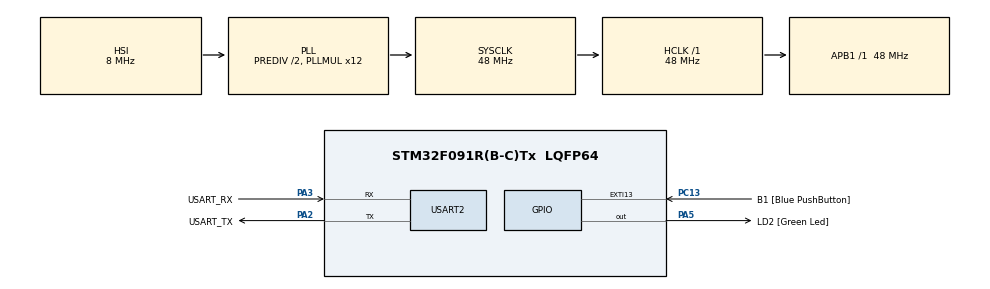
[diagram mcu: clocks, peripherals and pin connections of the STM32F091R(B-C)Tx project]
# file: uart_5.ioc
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FREERTOS.Tasks01=defaultTask,0,128,StartDefaultTask,Default,NULL,Dynamic,NULL,NULL;myTask04,-3,128,StartTask04,Default,NULL,Dynamic,NULL,NULL
FREERTOS.configUSE_NEWLIB_REENTRANT=1
Mcu.Family=STM32F0
Mcu.Name=STM32F091R(B-C)Tx
Mcu.Package=LQFP64
NVIC.EXTI4_15_IRQn=true\:3\:0\:false\:false\:true\:true\:true\:true\:true
NVIC.PVD_VDDIO2_IRQn=true\:3\:0\:false\:false\:true\:true\:true\:true\:true
NVIC.TIM1_BRK_UP_TRG_COM_IRQn=true\:3\:0\:false\:false\:true\:false\:false\:true\:true
NVIC.TimeBase=TIM1_BRK_UP_TRG_COM_IRQn
NVIC.TimeBaseIP=TIM1
PA13.GPIO_Label=TMS
PA13.Mode=Serial_Wire
PA13.Signal=SYS_SWDIO
PA14.GPIO_Label=TCK
PA14.Mode=Serial_Wire
PA14.Signal=SYS_SWCLK
PA2.GPIO_Label=USART_TX
PA2.GPIO_Mode=GPIO_MODE_AF_PP
PA2.GPIO_PuPd=GPIO_NOPULL
PA2.GPIO_Speed=GPIO_SPEED_FREQ_LOW
PA2.Mode=Asynchronous
PA2.Signal=USART2_TX
PA3.GPIO_Label=USART_RX
PA3.GPIO_Mode=GPIO_MODE_AF_PP
PA3.GPIO_PuPd=GPIO_NOPULL
PA3.GPIO_Speed=GPIO_SPEED_FREQ_LOW
PA3.Mode=Asynchronous
PA3.Signal=USART2_RX
PA5.GPIO_Label=LD2 [Green Led]
PA5.GPIO_Mode=GPIO_MODE_OUTPUT_PP
PA5.GPIO_PuPd=GPIO_NOPULL
PA5.GPIO_Speed=GPIO_SPEED_FREQ_LOW
PA5.Signal=GPIO_Output
PC13.GPIO_Label=B1 [Blue PushButton]
PC13.GPIO_ModeDefaultEXTI=GPIO_MODE_IT_FALLING
PC13.GPIO_PuPd=GPIO_NOPULL
PC13.Signal=GPXTI13
PC14OSC32_IN.Mode=LSE-External-Oscillator
PC14OSC32_IN.Signal=RCC_OSC32_IN
PC15OSC32_OUT.Mode=LSE-External-Oscillator
PC15OSC32_OUT.Signal=RCC_OSC32_OUT
PF0-OSC_IN.Mode=HSE-External-Clock-Source
PF0-OSC_IN.Signal=RCC_OSC_IN
PF1-OSC_OUT.Signal=RCC_OSC_OUT
ProjectManager.HeapSize=0x200
ProjectManager.StackSize=0x400
ProjectManager.TargetToolchain=STM32CubeIDE
RCC.AHBFreq_Value=48000000
RCC.APB1Freq_Value=48000000
RCC.APB1TimFreq_Value=48000000
RCC.FLatency-AdvancedSettings=FLASH_LATENCY_1
RCC.HCLKFreq_Value=48000000
RCC.PLLDivider=RCC_PREDIV_DIV2
RCC.PLLMUL=RCC_PLL_MUL12
RCC.PREFETCH_ENABLE-AdvancedSettings=1
RCC.SYSCLKFreq_VALUE=48000000
RCC.SYSCLKSource=RCC_SYSCLKSOURCE_PLLCLK
USART2.VirtualMode=VM_ASYNC
USART2.VirtualMode-Asynchronous=VM_ASYNC
VP_FREERTOS_VS_CMSIS_V1.Mode=CMSIS_V1
VP_SYS_VS_tim1.Mode=TIM1
board=NUCLEO-F091RC

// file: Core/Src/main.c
/* USER CODE BEGIN Header */
/**
  ******************************************************************************
  * @file           : main.c
  * @brief          : Main program body
  ******************************************************************************
  * @attention
  *
  * Copyright (c) 2025 STMicroelectronics.
  * All rights reserved.
  *
  * This software is licensed under terms that can be found in the LICENSE file
  * in the root directory of this software component.
  * If no LICENSE file comes with this software, it is provided AS-IS.
  *
  ******************************************************************************
  */
/* USER CODE END Header */
#include <proj_util.h>
#include "main.h"
#include "cmsis_os.h"
#include "portable.h"
#include "string.h"

/* USER CODE BEGIN PTD */
//must be size % 2 == 0
#define MORES_BUF_SIZE 20
#define QUEUE_LENGTH 5

/* USER CODE END PTD */

UART_HandleTypeDef huart2;

osThreadId defaultTaskHandle;
osThreadId myTask04Handle;

void SystemClock_Config(void);
static void MX_GPIO_Init(void);
static void MX_USART2_UART_Init(void);
static void StartDefaultTask(void * argument);
static void UartSendTask(void * argument);

/* USER CODE BEGIN PFP */
static char mc_buffer_data[MORES_BUF_SIZE+1];
CircularBuffer morse_code_buf;
static QueueHandle_t xQueueMorse;

/* USER CODE END PFP */

/* USER CODE BEGIN 0 */
void HAL_GPIO_EXTI_Callback(uint16_t GPIO_Pin)
{
	char curr_char = '!';
	static long curr_tick;

	BaseType_t xHigherPriorityTaskWoken;
	/* We have not woken a task at the start of the ISR. */
	xHigherPriorityTaskWoken = pdFALSE;

	//morse code for button less than . second - more than one second
	if(GPIO_Pin == GPIO_PIN_13) {
		 if (HAL_GPIO_ReadPin(GPIOC, GPIO_PIN_13) == GPIO_PIN_SET) {
			 //TICK_RATE_HZ is 1000
			 if((xTaskGetTickCountFromISR() - curr_tick)< (1 * 1000) ){
				 curr_char = '.';

			 }else{
				 curr_char = '-';
			 }

			 morse_code_buf.buffer[morse_code_buf.end] = curr_char;

			 //debug
			// HAL_UART_Transmit(&huart2, (unsigned char *) (morse_code_buf.buffer+morse_code_buf.start),morse_code_buf.end -morse_code_buf.start +1 , 0xffff);
			 morse_code_buf.end++;
			 //if at 1/2 point or end
			 uint32_t  end_mod_1_2 = (morse_code_buf.end) %(MORES_BUF_SIZE/2);
			 if(end_mod_1_2==0){

				 //assumes that half the buffer can be printed before the other half is full.
				 //if we have completed the first half post end advance
				 uint32_t  end_divided_1_2 =(morse_code_buf.end/((MORES_BUF_SIZE/2)+1));

				 xQueueSendFromISR(xQueueMorse,&end_divided_1_2,&xHigherPriorityTaskWoken);

				 //roll over end to start
				 morse_code_buf.end = morse_code_buf.end%MORES_BUF_SIZE;

				 //zero or 10 for buffer of 20
				 morse_code_buf.start = (morse_code_buf.end/(MORES_BUF_SIZE/2))*(MORES_BUF_SIZE/2);

			 }

		 }else{

			 curr_tick = xTaskGetTickCountFromISR();
		 }
	}
	if(xHigherPriorityTaskWoken == pdTRUE){
		portYIELD_FROM_ISR(xHigherPriorityTaskWoken);
	}

}

/* USER CODE END 0 */

int main(void)
{

  /* MCU Configuration--------------------------------------------------------*/

  /* Reset of all peripherals, Initializes the Flash interface and the Systick. */
  HAL_Init();

  /* Configure the system clock */
  SystemClock_Config();

  /* Initialize all configured peripherals */
  MX_GPIO_Init();
  MX_USART2_UART_Init();

/* USER CODE BEGIN Header */
/**
  ******************************************************************************
  * @file           : main.c
  * @brief          : Main program body
  ******************************************************************************
  * @attention
  *
  * Copyright (c) 2025 STMicroelectronics.
  * All rights reserved.
  *
  * This software is licensed under terms that can be found in the LICENSE file
  * in the root directory of this software component.
  * If no LICENSE file comes with this software, it is provided AS-IS.
  *
  ******************************************************************************
  */
/* USER CODE END Header */
  xQueueMorse = xQueueCreate( QUEUE_LENGTH, sizeof( uint32_t ) );
  xTaskCreate(UartSendTask,			/* The function that implements the task. */
    					"UartSendTask", 							/* The text name assigned to the task - for debug only as it is not used by the kernel. */
  					128, 		/* The size of the stack to allocate to the task. */
    					NULL, 							/* The parameter passed to the task */
						osPriorityAboveNormal,/* The priority assigned to the task. */
    					NULL );

  /* Start scheduler */
  char * buf = mc_buffer_data;
  assert(buf!=NULL);
  init_cir_buf(buf,MORES_BUF_SIZE, &morse_code_buf);

  osKernelStart();

  /* We should never get here as control is now taken by the scheduler */

  /* Infinite loop */
  /* USER CODE BEGIN WHILE */

//
  while (1)
  {
    /* USER CODE END WHILE */

  }
}

void SystemClock_Config(void)
{
  RCC_OscInitTypeDef RCC_OscInitStruct = {0};
  RCC_ClkInitTypeDef RCC_ClkInitStruct = {0};
  RCC_PeriphCLKInitTypeDef PeriphClkInit = {0};

  /** Initializes the RCC Oscillators according to the specified parameters
  * in the RCC_OscInitTypeDef structure.
  */
  RCC_OscInitStruct.OscillatorType = RCC_OSCILLATORTYPE_HSI;
  RCC_OscInitStruct.HSIState = RCC_HSI_ON;
  RCC_OscInitStruct.HSICalibrationValue = RCC_HSICALIBRATION_DEFAULT;
  RCC_OscInitStruct.PLL.PLLState = RCC_PLL_ON;
  RCC_OscInitStruct.PLL.PLLSource = RCC_PLLSOURCE_HSI;
  RCC_OscInitStruct.PLL.PLLMUL = RCC_PLL_MUL12;
  RCC_OscInitStruct.PLL.PREDIV = RCC_PREDIV_DIV2;
  if (HAL_RCC_OscConfig(&RCC_OscInitStruct) != HAL_OK)
  {
    Error_Handler();
  }

  /** Initializes the CPU, AHB and APB buses clocks
  */
  RCC_ClkInitStruct.ClockType = RCC_CLOCKTYPE_HCLK|RCC_CLOCKTYPE_SYSCLK
                              |RCC_CLOCKTYPE_PCLK1;
  RCC_ClkInitStruct.SYSCLKSource = RCC_SYSCLKSOURCE_PLLCLK;
  RCC_ClkInitStruct.AHBCLKDivider = RCC_SYSCLK_DIV1;
  RCC_ClkInitStruct.APB1CLKDivider = RCC_HCLK_DIV1;

  if (HAL_RCC_ClockConfig(&RCC_ClkInitStruct, FLASH_LATENCY_1) != HAL_OK)
  {
    Error_Handler();
  }
  PeriphClkInit.PeriphClockSelection = RCC_PERIPHCLK_USART2;
  PeriphClkInit.Usart2ClockSelection = RCC_USART2CLKSOURCE_PCLK1;
  if (HAL_RCCEx_PeriphCLKConfig(&PeriphClkInit) != HAL_OK)
  {
    Error_Handler();
  }
}

static void MX_USART2_UART_Init(void)
{

  huart2.Instance = USART2;
  huart2.Init.BaudRate = 115200;
  huart2.Init.WordLength = UART_WORDLENGTH_8B;
  huart2.Init.StopBits = UART_STOPBITS_1;
  huart2.Init.Parity = UART_PARITY_NONE;
  huart2.Init.Mode = UART_MODE_TX_RX;
  huart2.Init.HwFlowCtl = UART_HWCONTROL_NONE;
  huart2.Init.OverSampling = UART_OVERSAMPLING_16;
  huart2.Init.OneBitSampling = UART_ONE_BIT_SAMPLE_DISABLE;
  huart2.AdvancedInit.AdvFeatureInit = UART_ADVFEATURE_NO_INIT;
  if (HAL_UART_Init(&huart2) != HAL_OK)
  {
    Error_Handler();
  }

}

static void MX_GPIO_Init(void)
{
  GPIO_InitTypeDef GPIO_InitStruct = {0};

  /* GPIO Ports Clock Enable */
  __HAL_RCC_GPIOC_CLK_ENABLE();
  __HAL_RCC_GPIOF_CLK_ENABLE();
  __HAL_RCC_GPIOA_CLK_ENABLE();

  /*Configure GPIO pin Output Level */
  HAL_GPIO_WritePin(LD2_GPIO_Port, LD2_Pin, GPIO_PIN_RESET);

  /*Configure GPIO pin : B1_Pin */
  GPIO_InitStruct.Pin = B1_Pin;
  GPIO_InitStruct.Mode = GPIO_MODE_IT_RISING_FALLING;
  GPIO_InitStruct.Pull = GPIO_NOPULL;
  HAL_GPIO_Init(B1_GPIO_Port, &GPIO_InitStruct);

  /*Configure GPIO pin : LD2_Pin */
  GPIO_InitStruct.Pin = LD2_Pin;
  GPIO_InitStruct.Mode = GPIO_MODE_OUTPUT_PP;
  GPIO_InitStruct.Pull = GPIO_NOPULL;
  GPIO_InitStruct.Speed = GPIO_SPEED_FREQ_LOW;
  HAL_GPIO_Init(LD2_GPIO_Port, &GPIO_InitStruct);

  /* EXTI interrupt init*/
  HAL_NVIC_SetPriority(EXTI4_15_IRQn, 3, 0);
  HAL_NVIC_EnableIRQ(EXTI4_15_IRQn);

}

static void UartSendTask(void * argument)
{
  /* USER CODE BEGIN 5 */
  /* Infinite loop */
  for(;;)
  {
	  uint32_t ulReceivedValue = -1;
	  char test_res[25] = "status OK!";
	  HAL_UART_Transmit(&huart2, (unsigned char *)test_res,10, 0xffff);

	  xQueueReceive( xQueueMorse, &ulReceivedValue, 0xffff );

	  if(ulReceivedValue == 0){
		  HAL_UART_Transmit(&huart2, (unsigned char *) morse_code_buf.buffer , MORES_BUF_SIZE/2 , 0xffff);
	  }else if(ulReceivedValue == 1){
		  HAL_UART_Transmit(&huart2, (unsigned char *) (morse_code_buf.buffer + (MORES_BUF_SIZE/2)) ,MORES_BUF_SIZE/2, 0xffff);
	  }
  }
  /* USER CODE END 5 */
}

//void StartTask04(void const * argument)
//{
//  /* USER CODE BEGIN StartTask04 */
//  /* Infinite loop */
//  for(;;)
//  {
//	 char test_res[] = "status OK!";
//	 HAL_UART_Transmit(&huart2, (unsigned char *)test_res,10, 0xffff);
//    osDelay(30000);
//  }
//  /* USER CODE END StartTask04 */
//}

void HAL_TIM_PeriodElapsedCallback(TIM_HandleTypeDef *htim)
{
  if (htim->Instance == TIM1)
  {
    HAL_IncTick();
  }
}

void Error_Handler(void)
{
  __disable_irq();
  while (1)
  {
  }
}
